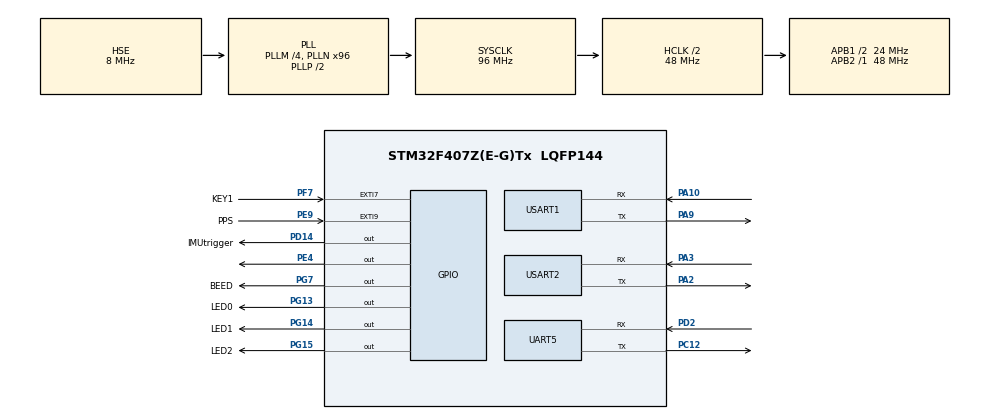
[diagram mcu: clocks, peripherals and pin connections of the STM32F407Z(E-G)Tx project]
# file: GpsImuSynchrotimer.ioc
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Dma.Request0=USART2_RX
Dma.Request1=USART1_RX
Dma.Request2=USART1_TX
Dma.Request3=USART2_TX
Dma.Request4=UART5_RX
Dma.Request5=UART5_TX
Dma.UART5_RX.4.Direction=DMA_PERIPH_TO_MEMORY
Dma.UART5_RX.4.FIFOMode=DMA_FIFOMODE_DISABLE
Dma.UART5_RX.4.Instance=DMA1_Stream0
Dma.UART5_RX.4.MemDataAlignment=DMA_MDATAALIGN_BYTE
Dma.UART5_RX.4.MemInc=DMA_MINC_ENABLE
Dma.UART5_RX.4.Mode=DMA_NORMAL
Dma.UART5_RX.4.PeriphDataAlignment=DMA_PDATAALIGN_BYTE
Dma.UART5_RX.4.PeriphInc=DMA_PINC_DISABLE
Dma.UART5_RX.4.Priority=DMA_PRIORITY_LOW
Dma.UART5_TX.5.Direction=DMA_MEMORY_TO_PERIPH
Dma.UART5_TX.5.FIFOMode=DMA_FIFOMODE_DISABLE
Dma.UART5_TX.5.Instance=DMA1_Stream7
Dma.UART5_TX.5.MemDataAlignment=DMA_MDATAALIGN_BYTE
Dma.UART5_TX.5.MemInc=DMA_MINC_ENABLE
Dma.UART5_TX.5.Mode=DMA_NORMAL
Dma.UART5_TX.5.PeriphDataAlignment=DMA_PDATAALIGN_BYTE
Dma.UART5_TX.5.PeriphInc=DMA_PINC_DISABLE
Dma.UART5_TX.5.Priority=DMA_PRIORITY_MEDIUM
Dma.USART1_RX.1.Direction=DMA_PERIPH_TO_MEMORY
Dma.USART1_RX.1.FIFOMode=DMA_FIFOMODE_DISABLE
Dma.USART1_RX.1.Instance=DMA2_Stream2
Dma.USART1_RX.1.MemDataAlignment=DMA_MDATAALIGN_BYTE
Dma.USART1_RX.1.MemInc=DMA_MINC_ENABLE
Dma.USART1_RX.1.Mode=DMA_NORMAL
Dma.USART1_RX.1.PeriphDataAlignment=DMA_PDATAALIGN_BYTE
Dma.USART1_RX.1.PeriphInc=DMA_PINC_DISABLE
Dma.USART1_RX.1.Priority=DMA_PRIORITY_LOW
Dma.USART1_TX.2.Direction=DMA_MEMORY_TO_PERIPH
Dma.USART1_TX.2.FIFOMode=DMA_FIFOMODE_DISABLE
Dma.USART1_TX.2.Instance=DMA2_Stream7
Dma.USART1_TX.2.MemDataAlignment=DMA_MDATAALIGN_BYTE
Dma.USART1_TX.2.MemInc=DMA_MINC_ENABLE
Dma.USART1_TX.2.Mode=DMA_NORMAL
Dma.USART1_TX.2.PeriphDataAlignment=DMA_PDATAALIGN_BYTE
Dma.USART1_TX.2.PeriphInc=DMA_PINC_DISABLE
Dma.USART1_TX.2.Priority=DMA_PRIORITY_LOW
Dma.USART2_RX.0.Direction=DMA_PERIPH_TO_MEMORY
Dma.USART2_RX.0.FIFOMode=DMA_FIFOMODE_DISABLE
Dma.USART2_RX.0.Instance=DMA1_Stream5
Dma.USART2_RX.0.MemDataAlignment=DMA_MDATAALIGN_BYTE
Dma.USART2_RX.0.MemInc=DMA_MINC_ENABLE
Dma.USART2_RX.0.Mode=DMA_NORMAL
Dma.USART2_RX.0.PeriphDataAlignment=DMA_PDATAALIGN_BYTE
Dma.USART2_RX.0.PeriphInc=DMA_PINC_DISABLE
Dma.USART2_RX.0.Priority=DMA_PRIORITY_LOW
Dma.USART2_TX.3.Direction=DMA_MEMORY_TO_PERIPH
Dma.USART2_TX.3.FIFOMode=DMA_FIFOMODE_DISABLE
Dma.USART2_TX.3.Instance=DMA1_Stream6
Dma.USART2_TX.3.MemDataAlignment=DMA_MDATAALIGN_BYTE
Dma.USART2_TX.3.MemInc=DMA_MINC_ENABLE
Dma.USART2_TX.3.Mode=DMA_NORMAL
Dma.USART2_TX.3.PeriphDataAlignment=DMA_PDATAALIGN_BYTE
Dma.USART2_TX.3.PeriphInc=DMA_PINC_DISABLE
Dma.USART2_TX.3.Priority=DMA_PRIORITY_LOW
Mcu.Family=STM32F4
Mcu.Name=STM32F407Z(E-G)Tx
Mcu.Package=LQFP144
NVIC.DMA1_Stream0_IRQn=true\:0\:0\:false\:false\:true\:false\:true\:true
NVIC.DMA1_Stream5_IRQn=true\:0\:0\:false\:false\:true\:false\:true\:true
NVIC.DMA1_Stream6_IRQn=true\:0\:0\:false\:false\:true\:false\:true\:true
NVIC.DMA1_Stream7_IRQn=true\:0\:0\:false\:false\:true\:false\:true\:true
NVIC.DMA2_Stream2_IRQn=true\:0\:0\:false\:false\:true\:false\:true\:true
NVIC.DMA2_Stream7_IRQn=true\:0\:0\:false\:false\:true\:false\:true\:true
NVIC.EXTI9_5_IRQn=true\:0\:0\:false\:false\:true\:true\:true\:true
NVIC.PriorityGroup=NVIC_PRIORITYGROUP_4
NVIC.TIM2_IRQn=true\:0\:0\:false\:false\:true\:true\:true\:true
NVIC.UART5_IRQn=true\:0\:0\:false\:false\:true\:true\:true\:true
NVIC.USART1_IRQn=true\:0\:0\:false\:false\:true\:true\:true\:true
NVIC.USART2_IRQn=true\:0\:0\:false\:false\:true\:true\:true\:true
PA10.Mode=Asynchronous
PA10.Signal=USART1_RX
PA13.Mode=Serial_Wire
PA13.Signal=SYS_JTMS-SWDIO
PA14.Mode=Serial_Wire
PA14.Signal=SYS_JTCK-SWCLK
PA2.Mode=Asynchronous
PA2.Signal=USART2_TX
PA3.Mode=Asynchronous
PA3.Signal=USART2_RX
PA9.Mode=Asynchronous
PA9.Signal=USART1_TX
PC12.Mode=Asynchronous
PC12.Signal=UART5_TX
PC14-OSC32_IN.Mode=LSE-External-Oscillator
PC14-OSC32_IN.Signal=RCC_OSC32_IN
PC15-OSC32_OUT.Mode=LSE-External-Oscillator
PC15-OSC32_OUT.Signal=RCC_OSC32_OUT
PD14.GPIO_Label=IMUtrigger
PD14.Signal=GPIO_Output
PD2.Mode=Asynchronous
PD2.Signal=UART5_RX
PE4.Signal=GPIO_Output
PE9.GPIO_Label=PPS
PE9.GPIO_ModeDefaultEXTI=GPIO_MODE_IT_RISING
PE9.Signal=GPXTI9
PF7.GPIO_Label=KEY1
PF7.GPIO_ModeDefaultEXTI=GPIO_MODE_IT_RISING
PF7.GPIO_PuPd=GPIO_NOPULL
PF7.Signal=GPXTI7
PG13.GPIO_Label=LED0
PG13.PinState=GPIO_PIN_RESET
PG13.Signal=GPIO_Output
PG14.GPIO_Label=LED1
PG14.Signal=GPIO_Output
PG15.GPIO_Label=LED2
PG15.Signal=GPIO_Output
PG7.GPIO_Label=BEED
PG7.Signal=GPIO_Output
PH0-OSC_IN.Mode=HSE-External-Oscillator
PH0-OSC_IN.Signal=RCC_OSC_IN
PH1-OSC_OUT.Mode=HSE-External-Oscillator
PH1-OSC_OUT.Signal=RCC_OSC_OUT
ProjectManager.HeapSize=0x1000
ProjectManager.StackSize=0x1000
ProjectManager.TargetToolchain=STM32CubeIDE
RCC.48MHZClocksFreq_Value=48000000
RCC.AHBCLKDivider=RCC_SYSCLK_DIV2
RCC.AHBFreq_Value=48000000
RCC.APB1CLKDivider=RCC_HCLK_DIV2
RCC.APB1Freq_Value=24000000
RCC.APB1TimFreq_Value=48000000
RCC.APB2Freq_Value=48000000
RCC.APB2TimFreq_Value=48000000
RCC.CortexFreq_Value=48000000
RCC.HCLKFreq_Value=48000000
RCC.HSE_VALUE=8000000
RCC.HSI_VALUE=16000000
RCC.PLLM=4
RCC.PLLN=96
RCC.PLLSourceVirtual=RCC_PLLSOURCE_HSE
RCC.SYSCLKFreq_VALUE=96000000
RCC.SYSCLKSource=RCC_SYSCLKSOURCE_PLLCLK
RCC.VCOOutputFreq_Value=192000000
TIM2.Period=9
TIM2.Prescaler=47999
UART5.VirtualMode=Asynchronous
USART1.VirtualMode=VM_ASYNC
USART2.VirtualMode=VM_ASYNC
VP_TIM2_VS_ClockSourceINT.Mode=Internal
board=custom

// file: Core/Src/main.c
/* USER CODE BEGIN Header */
/**
  ******************************************************************************
  * @file           : main.c
  * @brief          : Main program body
  ******************************************************************************
  * @attention
  *
  * Copyright (c) 2023 STMicroelectronics.
  * All rights reserved.
  *
  * This software is licensed under terms that can be found in the LICENSE file
  * in the root directory of this software component.
  * If no LICENSE file comes with this software, it is provided AS-IS.
  *
  ******************************************************************************
  */
/* USER CODE END Header */
#include "main.h"
#include "dma.h"
#include "tim.h"
#include "usart.h"
#include "gpio.h"

/* USER CODE BEGIN Includes */
#include <stdbool.h>
#include <string.h>
#include <time.h>
#include <stdio.h>
/* USER CODE END Includes */

void SystemClock_Config(void);

/* USER CODE BEGIN 0 */
//进行系统计时
uint8_t ss001=0;//�???? �???? �???? 0.01s
int i=0;//蜂鸣器计数
bool PPS_isArrived=false;//判断PPS是否到达
bool isfirsttime=true;//pps是否第一次来
int  getInitTime_flag=0;//初始时间获取标志位

#define IMU_BUFFER_SIZE 170 //这里应该很小
#define GPS_BUFFER_SIZE 165
#define COMBINED_BUFFER_SIZE 330

char imuBuffer[IMU_BUFFER_SIZE];
char gpsBuffer[GPS_BUFFER_SIZE];
char combinedBuffer[COMBINED_BUFFER_SIZE];

char local_time_ymdsms;//本地年月日时分秒
char fisttime;//
char current_time_integer;//当前时间整数秒——
// 定义全局变量以存储最新的GPS数据
char lastGpsData[180];  // 假设GPS数据最大长度为180字符
// 全局标志位
volatile uint8_t gpsDataReady = 0;
volatile uint8_t imuDataReady = 0;
extern uint8_t u1_buffer[85], u2_buffer[150];
extern uint8_t u1_rx_size, u2_rx_size;
volatile int isTxInProgress = 0;

extern DMA_HandleTypeDef hdma_usart1_rx;
extern DMA_HandleTypeDef hdma_usart1_tx;
extern DMA_HandleTypeDef hdma_usart2_rx;
extern DMA_HandleTypeDef hdma_usart2_tx;

volatile bool pps_flag = false;//pps来临标志符
volatile int txComplete = 0; // 传输完成标志

//gpio PE15测GPS来的pps信号，来1次LED0闪烁1次
void HAL_GPIO_EXTI_Callback(uint16_t GPIO_Pin)
{
	    if(GPIO_Pin==PPS_Pin)
	    {
	        pps_flag = true; // 只设置标志位
	    }
}

//定时器回调函数
void HAL_TIM_PeriodElapsedCallback(TIM_HandleTypeDef *htim)
{
	if(htim->Instance == TIM2)
	{

		HAL_GPIO_TogglePin(IMUtrigger_GPIO_Port, IMUtrigger_Pin);//每0.01s触发一次IMU数据——并计时
		ss001++;//进一次回调函数累加一次说明累加了0.01s(10ms）
	}
}

void HAL_UART_TxCpltCallback(UART_HandleTypeDef *huart) {
    if (huart == &huart5) {
        isTxInProgress = 0; // 仅重置标志位
        txComplete = 1;
    }
}

/* USER CODE END 0 */

int main(void)
{
  /* USER CODE BEGIN 1 */

	IMU_data data={0}; // 所有成员初始化为零
	uint8_t dataimu[500];
	char dataimu_time[256];
	char utcTime[14]; // 用于存储提取的UTC时间
	char lastUpdatedTime[14]; // 上一次更新后的时间
	uint8_t byteArray[sizeof(IMU_data)];
	char timestamp[50]; // 添加时间戳
	RingBuffer imuDataBuffer;  // 创建一个环形缓冲区实例
  /* USER CODE END 1 */

  /* MCU Configuration--------------------------------------------------------*/

  /* Reset of all peripherals, Initializes the Flash interface and the Systick. */
  HAL_Init();

  /* Configure the system clock */
  SystemClock_Config();

  /* Initialize all configured peripherals */
  MX_GPIO_Init();
  MX_DMA_Init();
  MX_TIM2_Init();
  MX_USART1_UART_Init();
  MX_USART2_UART_Init();
  MX_UART5_Init();
  /* USER CODE BEGIN 2 */
  Check_LED();//板子依次亮起，闪烁，最后保持全亮
  Check_BEED();//蜂鸣器响一声，代表计时器启动

  //start GPS USART
  HAL_UARTEx_ReceiveToIdle_DMA(&huart1, u1_buffer, sizeof(u1_buffer));//启动GPS串口  DMA接收
  __HAL_DMA_DISABLE_IT(&hdma_usart1_rx, DMA_IT_HT);
  HAL_UARTEx_ReceiveToIdle_DMA(&huart2, u2_buffer, sizeof(u2_buffer));//启动imu串口  DMA接收
  __HAL_DMA_DISABLE_IT(&hdma_usart2_rx, DMA_IT_HT);//关闭过半中断

  // 初始化GPS缓冲区
  strcpy(gpsBuffer, "No GPS data yet");
  // 初始化环形缓冲区
  RingBuffer_Init(&imuDataBuffer);
  char dataToSend[STRING_LENGTH];
//  HAL_TIM_Base_Start_IT(&htim2);//第一次PPS来开启定期器
  /* USER CODE END 2 */

  /* Infinite loop */
  while (1)
  {

    /* USER CODE BEGIN 3 */

	    if (pps_flag)
	     {
	         pps_flag = false;
	         HAL_GPIO_TogglePin(LED0_GPIO_Port, LED0_Pin);//PPS来的话led0闪烁
	         if (isfirsttime && getInitTime_flag==0)
	         {
	             isfirsttime = false;
	             getInitTime_flag=1;
	             HAL_TIM_Base_Start_IT(&htim2);//第一次PPS来开启定期器
	         }
	         else {
	        	 ss001 = 0;
	             __HAL_TIM_SET_COUNTER(&htim2, 0);//以后每次来pps就重置定时器，防止晶振计时累计
	             PPS_isArrived=true;
	         }
	     }
//
//
//		/////////////////////////////////////对PPS数据进行处理/////////////////////////////////////////////////
	    ////1.如果是第一次来数据，则获取初始时间
//	    if()

	if(getInitTime_flag !=1 && PPS_isArrived) //不是第一次来pps数据
	{
		PPS_isArrived = false; // 重置
		incrementTime(lastUpdatedTime, 1); // 上一次更新后的时间加1秒
		 long timeDiff = compareTime(lastUpdatedTime,utcTime);
		  if ((timeDiff) <1 && (timeDiff) > -1) // 检查时间差是否在1秒以内
		  {
//			; strcpy(lastUpdatedTime, lastUpdatedTime);//新时间就是上面加一秒后时间
		  }
		  else //非1s内则使用新的utc时间，PPS在信号丢失时候会消失
		  {
			  // 时间差超过1秒的处理逻辑
			  strcpy(lastUpdatedTime, utcTime); // 将lastUpdatedTime更新为当前的UTC时间
		  }
	}
    if (u1_rx_size)//串口获取到imu数据
	{
		u1_rx_size=0;
		//进行数据解析
		 if (u1_buffer[0] != 0xFA && u1_buffer[1] != 0xFF&&u1_buffer[2] != 0x36) {
			printf("Invalid preamble or bus identifier\n");

		}
		int idx = 4;
		uint32_t raw;
		// 欧拉角
		if (u1_buffer[idx] != 0x20 || u1_buffer[idx+1] != 0x30) {
			printf("Invalid data type identifier for Euler angles\n");
		}
		idx += 2;
		if (u1_buffer[idx] != 0x0C) {
			printf("Invalid length for Euler angles data\n");
		}
		idx++;
		for (int i = 0; i < 3; ++i) {
			raw = (u1_buffer[idx + 4 * i] << 24) |
				  (u1_buffer[idx + 1 + 4 * i] << 16) |
				  (u1_buffer[idx + 2 + 4 * i] << 8) |
				  u1_buffer[idx + 3 + 4 * i];
			float *angle = (float*)&raw;
			switch (i) {
				case 0: data.roll = *angle; break;
				case 1: data.pitch = *angle; break;
				case 2: data.yaw = *angle; break;
			}
		}
		idx += 12;

//////////////////////////////////加速度//////////////////////////////////////////////
		if (u1_buffer[idx] != 0x40 || u1_buffer[idx+1] != 0x20) {
			printf("Invalid data type identifier for acceleration\n");
		}
		idx += 2;
		if (u1_buffer[idx] != 0x0C) {
			printf("Invalid length for acceleration data\n");
		}
		idx++;
		for (int i = 0; i < 3; ++i) {
			raw = (u1_buffer[idx + 4 * i] << 24) |
				  (u1_buffer[idx + 1 + 4 * i] << 16) |
				  (u1_buffer[idx + 2 + 4 * i] << 8) |
				  u1_buffer[idx + 3 + 4 * i];
			float *accel = (float*)&raw;
			switch (i) {
				case 0: data.ax = *accel; break;
				case 1: data.ay = *accel; break;
				case 2: data.az = *accel; break;
			}
		}
		idx += 12;
////////////////////////////////// 自由加速度//////////////////////////////////////////////
		if (u1_buffer[idx] != 0x40 || u1_buffer[idx+1] != 0x30) {
			printf("Invalid data type identifier for acc_free\n");
		}
		idx += 2;
		if (u1_buffer[idx] != 0x0C) {
			printf("Invalid length for acc_free data\n");
		}
		idx++;
		for (int i = 0; i < 3; ++i) {
			raw = (u1_buffer[idx + 4 * i] << 24) |
				  (u1_buffer[idx + 1 + 4 * i] << 16) |
				  (u1_buffer[idx + 2 + 4 * i] << 8) |
				  u1_buffer[idx + 3 + 4 * i];
			float *Acc_free = (float*)&raw;
			switch (i) {
				case 0: data.ax_free = *Acc_free; break;
				case 1: data.ay_free = *Acc_free; break;
				case 2: data.az_free = *Acc_free; break;
			}
		}
		idx += 12;
////////////////////////////////// 角速度//////////////////////////////////////////////
		if (u1_buffer[idx] != 0x80 || u1_buffer[idx+1] != 0x20) {
			printf("Invalid data type identifier for gyro\n");
		}
		idx += 2;
		if (u1_buffer[idx] != 0x0C) {
			printf("Invalid length for gyro data\n");
		}
		idx++;
		for (int i = 0; i < 3; ++i) {
			raw = (u1_buffer[idx + 4 * i] << 24) |
				  (u1_buffer[idx + 1 + 4 * i] << 16) |
				  (u1_buffer[idx + 2 + 4 * i] << 8) |
				  u1_buffer[idx + 3 + 4 * i];
			float *gyro = (float*)&raw;
			switch (i) {
				case 0: data.gx = *gyro; break;
				case 1: data.gy = *gyro; break;
				case 2: data.gz = *gyro; break;
			}
		}
		idx += 12;

//////////////////////////////////时间戳//////////////////////////////////////////////////
		// 计算小数秒
		float fractionalSeconds = ss001 * 0.01;
		// 将小数秒转换为字符串
		char fractionalStr[10];
		snprintf(fractionalStr, sizeof(fractionalStr), "%.2f", fractionalSeconds);
		// 提取小数部分（跳过前两个字符，即 '0' 和 '.'）
		char* decimalPart = fractionalStr + 2;
		// 拼接整数秒和小数秒
		snprintf(timestamp, sizeof(timestamp), "%s.%s", lastUpdatedTime, decimalPart);

		char imubuffer[102]; // 足够大以容纳所有数据的字符串
			// 将数据格式化为字符串，包括时间戳
		int len= snprintf(imuBuffer, IMU_BUFFER_SIZE, "%s,%f,%f,%f,%f,%f,%f,%f,%f,%f,%f,%f,%f\r\n",
				timestamp, // 时间戳
					data.roll, data.pitch, data.yaw,
					data.ax, data.ay, data.az,
					data.ax_free, data.ay_free, data.az_free,
					data.gx, data.gy, data.gz);
//					data.mx, data.my, data.mz);
/////////////////////////////////串口发射区//////////////////////////////////////////////////
		if (RingBuffer_Put(&imuDataBuffer, imuBuffer) == 0) {
		    // 处理缓冲区已满的情况（例如，丢弃数据或记录错误）
		}
		// 在主循环或DMA传输完成的中断处理函数中
		if ((!isTxInProgress && RingBuffer_Get(&imuDataBuffer, dataToSend))|| txComplete) {
			isTxInProgress = 1;
			txComplete = 0;
			HAL_UART_Transmit_DMA(&huart5, (uint8_t*)dataToSend, strlen(dataToSend));
		}
	 }
//////////////////////////////////GPS处理区//////////////////////////////////////////////////
    else if(u2_rx_size)//GPS数据来
	{
    	//把GPS也设置成缓冲区进行发射，用于避免imu和gps数据同时出现时候只发送一个的情况
        // 检查环形缓冲区是否有空间
        if (RingBuffer_Put(&imuDataBuffer, (char*)u2_buffer) == 0) {
            // 处理缓冲区已满的情况（例如，丢弃数据或记录错误）
        }
//         检查环形缓冲区是否有待发送的IMU数据
		if ((!isTxInProgress && RingBuffer_Get(&imuDataBuffer, dataToSend))|| txComplete) {
			isTxInProgress = 1;
			txComplete = 0;
			HAL_UART_Transmit_DMA(&huart5, (uint8_t*)dataToSend, strlen(dataToSend));
		}
		memcpy(gpsBuffer, u2_buffer,u2_rx_size);
		u2_rx_size=0;
		extractUTC(gpsBuffer, utcTime);//提取其中的整数秒UTC时间
    	if(getInitTime_flag==1)//第一次来UTC数据
    	{
    		strcpy(lastUpdatedTime,utcTime);//初始化lastUpdatedTime(只有整数秒）
    		getInitTime_flag = 2;
    		PPS_isArrived=false;
    	}
	}
    // 检查环形缓冲区是否有数据，并且串口是否空闲
    if (!isTxInProgress && RingBuffer_Get(&imuDataBuffer, dataToSend)) {
        isTxInProgress = 1; // 设置串口为忙状态
        HAL_UART_Transmit_DMA(&huart5, (uint8_t*)dataToSend, strlen(dataToSend));
    }

  }
  /* USER CODE END 3 */
}

void SystemClock_Config(void)
{
  RCC_OscInitTypeDef RCC_OscInitStruct = {0};
  RCC_ClkInitTypeDef RCC_ClkInitStruct = {0};

  /** Configure the main internal regulator output voltage
  */
  __HAL_RCC_PWR_CLK_ENABLE();
  __HAL_PWR_VOLTAGESCALING_CONFIG(PWR_REGULATOR_VOLTAGE_SCALE1);

  /** Initializes the RCC Oscillators according to the specified parameters
  * in the RCC_OscInitTypeDef structure.
  */
  RCC_OscInitStruct.OscillatorType = RCC_OSCILLATORTYPE_HSE;
  RCC_OscInitStruct.HSEState = RCC_HSE_ON;
  RCC_OscInitStruct.PLL.PLLState = RCC_PLL_ON;
  RCC_OscInitStruct.PLL.PLLSource = RCC_PLLSOURCE_HSE;
  RCC_OscInitStruct.PLL.PLLM = 4;
  RCC_OscInitStruct.PLL.PLLN = 96;
  RCC_OscInitStruct.PLL.PLLP = RCC_PLLP_DIV2;
  RCC_OscInitStruct.PLL.PLLQ = 4;
  if (HAL_RCC_OscConfig(&RCC_OscInitStruct) != HAL_OK)
  {
    Error_Handler();
  }

  /** Initializes the CPU, AHB and APB buses clocks
  */
  RCC_ClkInitStruct.ClockType = RCC_CLOCKTYPE_HCLK|RCC_CLOCKTYPE_SYSCLK
                              |RCC_CLOCKTYPE_PCLK1|RCC_CLOCKTYPE_PCLK2;
  RCC_ClkInitStruct.SYSCLKSource = RCC_SYSCLKSOURCE_PLLCLK;
  RCC_ClkInitStruct.AHBCLKDivider = RCC_SYSCLK_DIV2;
  RCC_ClkInitStruct.APB1CLKDivider = RCC_HCLK_DIV2;
  RCC_ClkInitStruct.APB2CLKDivider = RCC_HCLK_DIV1;

  if (HAL_RCC_ClockConfig(&RCC_ClkInitStruct, FLASH_LATENCY_1) != HAL_OK)
  {
    Error_Handler();
  }
}

void Error_Handler(void)
{
  __disable_irq();
  while (1)
  {
  }
}
